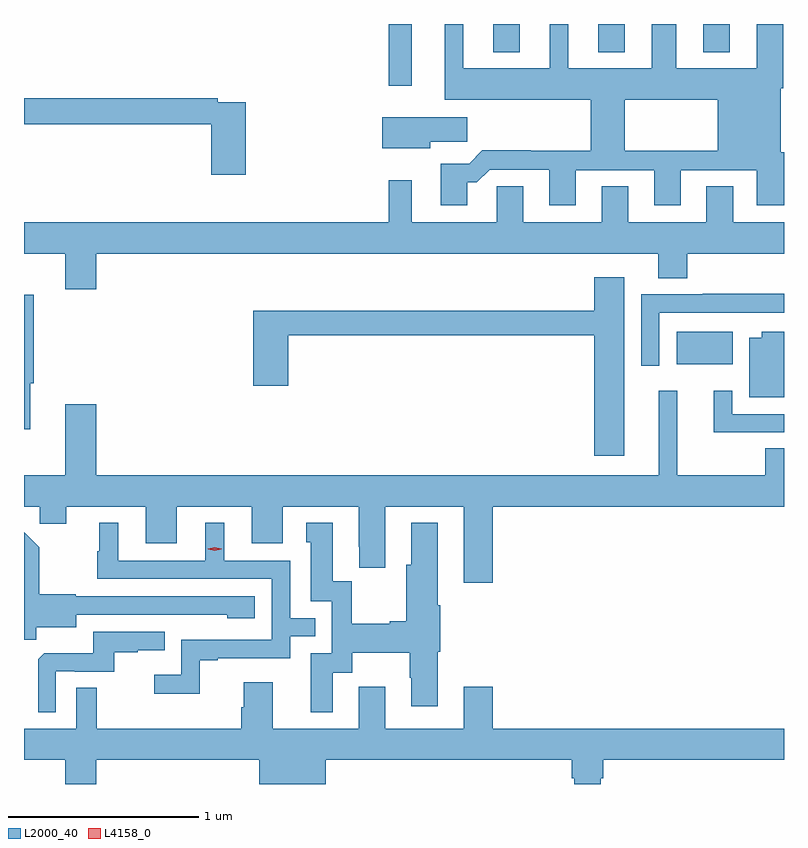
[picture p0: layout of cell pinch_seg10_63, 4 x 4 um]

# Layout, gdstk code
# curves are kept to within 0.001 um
import gdstk
lib = gdstk.Library(unit=1e-6, precision=1e-09)
def R(c, l, rs):  # rectangles x0, y0, x1, y1
    for r in rs: c.add(gdstk.rectangle(r[:2], r[2:], *l))
def A(c, l, x, y, w, h, nx, ny, dx, dy):  # array of equal rectangles
    R(c, l, [(x+i*dx, y+j*dy, x+i*dx+w, y+j*dy+h) for i in range(nx) for j in range(ny)])
def P(c, l, *ps):  # polygons
    for p in ps: c.add(gdstk.Polygon(p, *l))
L2000_40 = (2000, 40)
L4158_0 = (4158, 0)

pinch_seg10_63 = lib.new_cell('pinch_seg10_63')
A(pinch_seg10_63, L2000_40, 838.589, 1305.371, 0.14, 0.149, 3, 1, 0.552, 0)
R(pinch_seg10_63, L2000_40, [(839.555,1303.73,839.848,1303.9), (838.038,1305.195,838.159,1305.52)])
P(pinch_seg10_63, L2000_40, [(838.787,1304.855),(838.532,1304.855),(838.462,1304.785),(838.313,1304.785),(838.313,1304.565),(838.453,1304.565),(838.453,1304.687),(838.502,1304.687),(838.569,1304.754),(838.883,1304.754),(838.883,1304.565),(839.023,1304.565),(839.023,1304.751),(839.435,1304.751),(839.435,1304.565),(839.575,1304.565),(839.575,1304.751),(839.975,1304.751),(839.975,1304.565),(840.119,1304.565),(840.119,1304.844),(840.103,1304.844),(840.103,1305.182),(840.116,1305.182),(840.116,1305.52),(839.975,1305.52),(839.975,1305.286),(839.551,1305.286),(839.551,1305.52),(839.423,1305.52),(839.423,1305.286),(838.984,1305.286),(838.984,1305.52),(838.886,1305.52),(838.886,1305.286),(838.432,1305.286),(838.432,1305.52),(838.334,1305.52),(838.334,1305.122),(839.102,1305.122),(839.102,1304.852),(839.28,1304.852),(839.28,1305.122),(839.771,1305.122),(839.771,1304.852),(838.787,1304.852)],
  [(837.287,1305.108),(837.14,1305.108),(837.14,1305.128),(836.119,1305.128),(836.119,1304.992),(837.104,1304.992),(837.104,1304.727),(837.287,1304.727)],
  [(838.258,1304.899),(838.453,1304.899),(838.453,1305.028),(838.004,1305.028),(838.004,1304.867),(838.258,1304.867)],
  [(836.5,1304.312),(839.456,1304.312),(839.456,1304.182),(839.609,1304.182),(839.609,1304.312),(840.119,1304.312),(840.119,1304.476),(839.851,1304.476),(839.851,1304.666),(839.711,1304.666),(839.711,1304.476),(839.299,1304.476),(839.299,1304.666),(839.159,1304.666),(839.159,1304.476),(838.747,1304.476),(838.747,1304.666),(838.608,1304.666),(838.608,1304.476),(838.159,1304.476),(838.159,1304.698),(838.038,1304.698),(838.038,1304.476),(836.119,1304.476),(836.119,1304.312),(836.336,1304.312),(836.336,1304.124),(836.5,1304.124)],
  [(839.278,1304.188),(839.12,1304.188),(839.12,1304.011),(837.326,1304.011),(837.326,1303.617),(837.509,1303.617),(837.509,1303.882),(839.12,1303.882),(839.12,1303.248),(839.278,1303.248)],
  [(839.463,1304.001),(840.119,1304.001),(840.119,1304.099),(839.692,1304.099),(839.692,1304.097),(839.367,1304.097),(839.367,1303.722),(839.463,1303.722)],
  [(836.153,1303.63),(836.171,1303.63),(836.171,1304.096),(836.119,1304.096),(836.119,1303.386),(836.153,1303.386)],
  [(840.119,1303.9),(840.002,1303.9),(840.002,1303.87),(839.936,1303.87),(839.936,1303.556),(840.119,1303.556)],
  [(838.586,1302.98),(840.119,1302.98),(840.119,1303.286),(840.019,1303.286),(840.019,1303.144),(839.558,1303.144),(839.558,1303.591),(839.459,1303.591),(839.459,1303.144),(836.5,1303.144),(836.5,1303.519),(836.336,1303.519),(836.336,1303.144),(836.119,1303.144),(836.119,1302.98),(836.203,1302.98),(836.203,1302.89),(836.341,1302.89),(836.341,1302.98),(836.759,1302.98),(836.759,1302.786),(836.923,1302.786),(836.923,1302.98),(837.317,1302.98),(837.317,1302.786),(837.481,1302.786),(837.481,1302.98),(837.881,1302.98),(837.881,1302.769),(837.884,1302.769),(837.884,1302.657),(838.021,1302.657),(838.021,1302.98),(838.433,1302.98),(838.433,1302.579),(838.586,1302.579)],
  [(840.119,1303.467),(839.847,1303.467),(839.847,1303.591),(839.75,1303.591),(839.75,1303.371),(840.119,1303.371)],
  [(837.745,1302.106),(837.847,1302.106),(837.847,1302.212),(838.15,1302.212),(838.15,1302.078),(838.157,1302.078),(838.157,1301.928),(838.297,1301.928),(838.297,1302.216),(838.31,1302.216),(838.31,1302.46),(838.297,1302.46),(838.297,1302.895),(838.157,1302.895),(838.157,1302.675),(838.132,1302.675),(838.132,1302.377),(838.043,1302.377),(838.043,1302.364),(837.843,1302.364),(837.843,1302.587),(837.745,1302.587),(837.745,1302.895),(837.605,1302.895),(837.605,1302.792),(837.629,1302.792),(837.629,1302.483),(837.738,1302.483),(837.738,1302.207),(837.629,1302.207),(837.629,1301.898),(837.745,1301.898)],
  [(837.045,1302.171),(837.139,1302.171),(837.139,1302.183),(837.519,1302.183),(837.519,1302.297),(837.653,1302.297),(837.653,1302.393),(837.519,1302.393),(837.519,1302.696),(837.172,1302.696),(837.172,1302.895),(837.074,1302.895),(837.074,1302.696),(836.614,1302.696),(836.614,1302.895),(836.516,1302.895),(836.516,1302.744),(836.505,1302.744),(836.505,1302.6),(837.423,1302.6),(837.423,1302.279),(836.946,1302.279),(836.946,1302.094),(836.805,1302.094),(836.805,1301.996),(837.045,1301.996)],
  [(836.184,1302.344),(836.395,1302.344),(836.395,1302.411),(837.189,1302.41),(837.189,1302.392),(837.334,1302.392),(837.334,1302.507),(836.391,1302.507),(836.391,1302.52),(836.199,1302.52),(836.199,1302.765),(836.119,1302.845),(836.119,1302.28),(836.184,1302.28)],
  [(836.286,1302.114),(836.386,1302.114),(836.386,1302.111),(836.594,1302.111),(836.594,1302.213),(836.717,1302.213),(836.717,1302.224),(836.861,1302.224),(836.861,1302.321),(836.484,1302.321),(836.484,1302.209),(836.225,1302.209),(836.193,1302.177),(836.193,1301.897),(836.286,1301.897)],
  [(839.003,1301.55),(839.015,1301.55),(839.015,1301.52),(839.155,1301.52),(839.155,1301.55),(839.168,1301.55),(839.168,1301.648),(840.119,1301.648),(840.119,1301.812),(838.586,1301.812),(838.586,1302.031),(838.433,1302.031),(838.433,1301.812),(838.021,1301.812),(838.021,1302.031),(837.881,1302.031),(837.881,1301.812),(837.427,1301.812),(837.427,1302.055),(837.275,1302.055),(837.275,1301.925),(837.263,1301.925),(837.263,1301.812),(836.503,1301.812),(836.503,1302.026),(836.394,1302.026),(836.394,1301.812),(836.119,1301.812),(836.119,1301.648),(836.336,1301.648),(836.336,1301.52),(836.5,1301.52),(836.5,1301.648),(837.356,1301.648),(837.356,1301.52),(837.706,1301.52),(837.706,1301.648),(839.003,1301.648)])
P(pinch_seg10_63, L4158_0, [(837.123,1302.747),(837.088,1302.756),(837.087,1302.757),(837.088,1302.757),(837.123,1302.767),(837.158,1302.757),(837.159,1302.757),(837.158,1302.756)])

lib.write_gds('pinch_seg10_63.gds')
